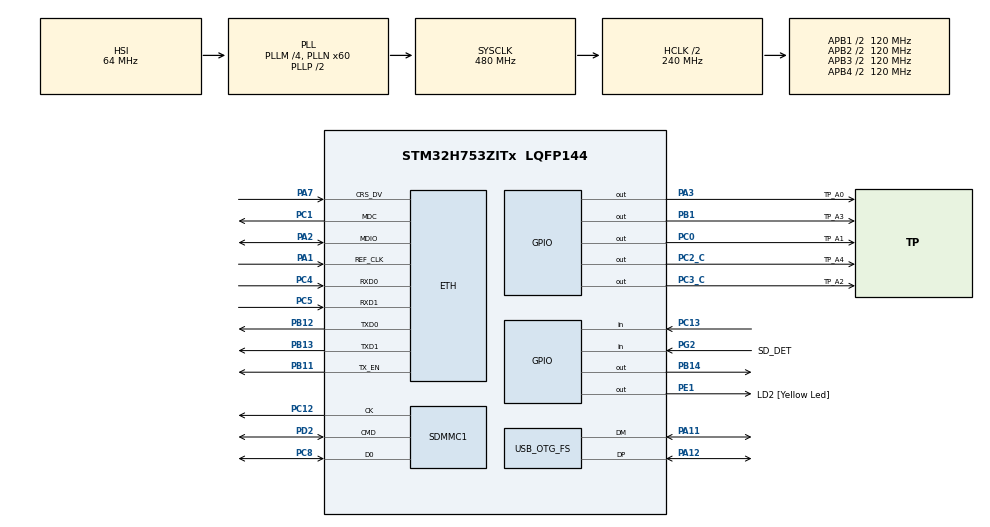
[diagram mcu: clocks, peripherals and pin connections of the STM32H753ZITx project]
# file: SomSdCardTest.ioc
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CORTEX_M7.AccessPermission_S-Cortex_Memory_Protection_Unit_Region1_Settings_S=MPU_REGION_FULL_ACCESS
CORTEX_M7.BaseAddress_S-Cortex_Memory_Protection_Unit_Region1_Settings_S=0x24078000
CORTEX_M7.CPU_DCache=Enabled
CORTEX_M7.CPU_ICache=Enabled
CORTEX_M7.Enable_S-Cortex_Memory_Protection_Unit_Region1_Settings_S=MPU_REGION_ENABLE
CORTEX_M7.IsShareable_S-Cortex_Memory_Protection_Unit_Region1_Settings_S=MPU_ACCESS_NOT_SHAREABLE
CORTEX_M7.MPU_Control=MPU_PRIVILEGED_DEFAULT
CORTEX_M7.Size_S-Cortex_Memory_Protection_Unit_Region1_Settings_S=MPU_REGION_SIZE_32KB
CORTEX_M7.TypeExtField_S-Cortex_Memory_Protection_Unit_Region1_Settings_S=MPU_TEX_LEVEL1
CORTEX_M7.default_mode_Activation=1
ETH.MediaInterface=HAL_ETH_RMII_MODE
Mcu.Family=STM32H7
Mcu.Name=STM32H753ZITx
Mcu.Package=LQFP144
NUCLEO-H753ZI.BUTTON=0
NUCLEO-H753ZI.Bsp_Common_DEMO=true
NUCLEO-H753ZI.LD1=true
NUCLEO-H753ZI.LD2=true
NUCLEO-H753ZI.LD3=true
NUCLEO-H753ZI.VCP=true
NVIC.OTG_FS_IRQn=true\:0\:0\:false\:false\:true\:false\:true\:true\:true
NVIC.PriorityGroup=NVIC_PRIORITYGROUP_4
NVIC.SDMMC1_IRQn=true\:0\:0\:false\:false\:true\:false\:true\:true\:true
NVIC.TIM6_DAC_IRQn=true\:15\:0\:false\:false\:true\:false\:false\:true\:true
NVIC.TimeBase=TIM6_DAC_IRQn
NVIC.TimeBaseIP=TIM6
PA1.Mode=RMII
PA1.Signal=ETH_REF_CLK
PA11.GPIO_Speed=GPIO_SPEED_FREQ_HIGH
PA11.Mode=Device_Only
PA11.Signal=USB_OTG_FS_DM
PA12.GPIO_Speed=GPIO_SPEED_FREQ_HIGH
PA12.Mode=Device_Only
PA12.Signal=USB_OTG_FS_DP
PA13\ (JTMS/SWDIO).Mode=Trace_Asynchronous_SW
PA13\ (JTMS/SWDIO).Signal=DEBUG_JTMS-SWDIO
PA14\ (JTCK/SWCLK).Mode=Trace_Asynchronous_SW
PA14\ (JTCK/SWCLK).Signal=DEBUG_JTCK-SWCLK
PA2.Mode=RMII
PA2.Signal=ETH_MDIO
PA3.GPIO_Label=TP_A0
PA3.Signal=GPIO_Output
PA7.Mode=RMII
PA7.Signal=ETH_CRS_DV
PB1.GPIO_Label=TP_A3
PB1.Signal=GPIO_Output
PB11.Mode=RMII
PB11.Signal=ETH_TX_EN
PB12.Mode=RMII
PB12.Signal=ETH_TXD0
PB13.Mode=RMII
PB13.Signal=ETH_TXD1
PB14.Signal=GPIO_Output
PB3\ (JTDO/TRACESWO).Mode=Trace_Asynchronous_SW
PB3\ (JTDO/TRACESWO).Signal=DEBUG_JTDO-SWO
PC0.GPIO_Label=TP_A1
PC0.Signal=GPIO_Output
PC1.Mode=RMII
PC1.Signal=ETH_MDC
PC12.GPIO_Speed_High_Default=GPIO_SPEED_FREQ_HIGH
PC12.Mode=SD_1_bit
PC12.Signal=SDMMC1_CK
PC13.Signal=GPIO_Input
PC14-OSC32_IN\ (OSC32_IN).Signal=RCC_OSC32_IN
PC15-OSC32_OUT\ (OSC32_OUT).Signal=RCC_OSC32_OUT
PC2_C.GPIO_Label=TP_A4
PC2_C.Signal=GPIO_Output
PC3_C.GPIO_Label=TP_A2
PC3_C.Signal=GPIO_Output
PC4.Mode=RMII
PC4.Signal=ETH_RXD0
PC5.Mode=RMII
PC5.Signal=ETH_RXD1
PC8.GPIO_Speed_High_Default=GPIO_SPEED_FREQ_HIGH
PC8.Mode=SD_1_bit
PC8.Signal=SDMMC1_D0
PD2.GPIO_Speed_High_Default=GPIO_SPEED_FREQ_HIGH
PD2.Mode=SD_1_bit
PD2.Signal=SDMMC1_CMD
PD8.Signal=USART3_TX
PD9.Signal=USART3_RX
PE1.GPIO_Label=LD2 [Yellow Led]
PE1.Signal=GPIO_Output
PG2.GPIO_Label=SD_DET
PG2.Signal=GPIO_Input
PH0-OSC_IN\ (PH0).Signal=RCC_OSC_IN
PH1-OSC_OUT\ (PH1).Signal=RCC_OSC_OUT
ProjectManager.HeapSize=0x200
ProjectManager.StackSize=0x400
ProjectManager.TargetToolchain=STM32CubeIDE
RCC.ADCFreq_Value=129000000
RCC.APB1Freq_Value=120000000
RCC.APB2Freq_Value=120000000
RCC.APB3Freq_Value=120000000
RCC.APB4Freq_Value=120000000
RCC.CortexFreq_Value=480000000
RCC.D1PPRE=RCC_APB3_DIV2
RCC.D2PPRE1=RCC_APB1_DIV2
RCC.D2PPRE2=RCC_APB2_DIV2
RCC.D3PPRE=RCC_APB4_DIV2
RCC.DIVM1=4
RCC.DIVN1=60
RCC.DIVQ1=5
RCC.HCLKFreq_Value=240000000
RCC.HPRE=RCC_HCLK_DIV2
RCC.HSE_VALUE=8000000
RCC.PLL2FRACN=0
RCC.PLL3FRACN=0
RCC.PLLFRACN=0
RCC.PWR_Regulator_Voltage_Scale=PWR_REGULATOR_VOLTAGE_SCALE0
RCC.SYSCLKFreq_VALUE=480000000
RCC.SYSCLKSource=RCC_SYSCLKSOURCE_PLLCLK
RCC.USBCLockSelection=RCC_USBCLKSOURCE_HSI48
RCC.USBFreq_Value=48000000
SDMMC1.ClockDiv=5
SDMMC1.HardwareFlowControl=SDMMC_HARDWARE_FLOW_CONTROL_ENABLE
STMicroelectronics.X-CUBE-AZRTOS-H7.3.3.0.REG_UX_DEVICE_CDC_ACM=1
STMicroelectronics.X-CUBE-AZRTOS-H7.3.3.0.REG_UX_DEVICE_STORAGE=1
STMicroelectronics.X-CUBE-AZRTOS-H7.3.3.0.TX_APP_MEM_POOL_SIZE=1024*2
STMicroelectronics.X-CUBE-AZRTOS-H7.3.3.0.TX_ENABLE_EVENT_TRACE=1
STMicroelectronics.X-CUBE-AZRTOS-H7.3.3.0.TX_ENABLE_STACK_CHECKING=1
STMicroelectronics.X-CUBE-AZRTOS-H7.3.3.0.ThreadXCcRTOSJjThreadXJjCore=true
STMicroelectronics.X-CUBE-AZRTOS-H7.3.3.0.ThreadXCcRTOSJjThreadXJjTraceXOosupport=true
STMicroelectronics.X-CUBE-AZRTOS-H7.3.3.0.USBD_CDCACM_EPINCMD_ADDR=1
STMicroelectronics.X-CUBE-AZRTOS-H7.3.3.0.USBD_CDCACM_EPIN_ADDR=2
STMicroelectronics.X-CUBE-AZRTOS-H7.3.3.0.USBD_CDCACM_EPOUT_ADDR=2
STMicroelectronics.X-CUBE-AZRTOS-H7.3.3.0.USBD_MSC_EPIN_ADDR=3
STMicroelectronics.X-CUBE-AZRTOS-H7.3.3.0.USBD_MSC_EPOUT_ADDR=3
STMicroelectronics.X-CUBE-AZRTOS-H7.3.3.0.USBD_PRODUCT_STRING=NUCLEO TEST
STMicroelectronics.X-CUBE-AZRTOS-H7.3.3.0.USBXCcUSBJjUSBXJjCoreSystem=true
STMicroelectronics.X-CUBE-AZRTOS-H7.3.3.0.USBXCcUSBJjUSBXJjUXOoDeviceOoClassOoCDCOoACM=true
STMicroelectronics.X-CUBE-AZRTOS-H7.3.3.0.USBXCcUSBJjUSBXJjUXOoDeviceOoClassOoSTORAGE=true
STMicroelectronics.X-CUBE-AZRTOS-H7.3.3.0.USBXCcUSBJjUSBXJjUXOoDeviceOoControllers=true
STMicroelectronics.X-CUBE-AZRTOS-H7.3.3.0.USBXCcUSBJjUSBXJjUXOoDeviceOoCoreStack=true
STMicroelectronics.X-CUBE-AZRTOS-H7.3.3.0.USBX_DEVICE_APP_THREAD_Size=1024*2
STMicroelectronics.X-CUBE-AZRTOS-H7.3.3.0.USBX_DEVICE_SYS_SIZE=1024*11
STMicroelectronics.X-CUBE-AZRTOS-H7.3.3.0.UX_ALIGN_MIN=UX_ALIGN_32
STMicroelectronics.X-CUBE-AZRTOS-H7.3.3.0.UX_DEVICE_APP_MEM_POOL_SIZE=1024*28
STMicroelectronics.X-CUBE-AZRTOS-H7.3.3.0.UX_ENABLE_ERROR_CHECKING=true
STMicroelectronics.X-CUBE-AZRTOS-H7.3.3.0.UX_MAX_SLAVE_CLASS_DRIVER=2
STMicroelectronics.X-CUBE-AZRTOS-H7.3.3.0.UX_MAX_SLAVE_INTERFACES=16
STMicroelectronics.X-CUBE-AZRTOS-H7.3.3.0.UX_SLAVE_REQUEST_DATA_MAX_LENGTH=512
STMicroelectronics.X-CUBE-AZRTOS-H7.3.3.0.UX_THREAD_PRIORITY_CLASS=12
STMicroelectronics.X-CUBE-AZRTOS-H7.3.3.0.UX_THREAD_PRIORITY_ENUM=12
STMicroelectronics.X-CUBE-AZRTOS-H7.3.3.0_IsAnAzureRtosMw=true
USB_OTG_FS.VirtualMode=Device_Only
VP_MEMORYMAP_VS_MEMORYMAP.Mode=CurAppReg
VP_NUCLEO-H753ZI_VS_BSP_COMMON.Mode=COMMON
VP_RCC_USB.Mode=USB_FS
VP_STMicroelectronics.X-CUBE-AZRTOS-H7_VS_RTOSJjThreadX_6.4.0_3.3.0.Mode=RTOSJjThreadX
VP_STMicroelectronics.X-CUBE-AZRTOS-H7_VS_USBJjUSBX_6.4.0_3.3.0.Mode=USBJjUSBX
VP_SYS_VS_tim6.Mode=TIM6
board=NUCLEO-H753ZI

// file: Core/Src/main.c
/* USER CODE BEGIN Header */
/**
  ******************************************************************************
  * @file           : main.c
  * @brief          : Main program body
  ******************************************************************************
  * @attention
  *
  * Copyright (c) 2025 STMicroelectronics.
  * All rights reserved.
  *
  * This software is licensed under terms that can be found in the LICENSE file
  * in the root directory of this software component.
  * If no LICENSE file comes with this software, it is provided AS-IS.
  *
  ******************************************************************************
  */
/* USER CODE END Header */
#include "app_threadx.h"
#include "main.h"
#include "eth.h"
#include "memorymap.h"
#include "gpio.h"

/* USER CODE BEGIN Includes */
#include "sdmmc.h"
#include "stm32h7xx_nucleo.h"
/* USER CODE END Includes */

COM_InitTypeDef BspCOMInit;
__IO uint32_t BspButtonState = BUTTON_RELEASED;

/* USER CODE BEGIN PV */
HAL_SD_CardInfoTypeDef USBD_SD_CardInfo;

/* USER CODE END PV */

void SystemClock_Config(void);
static void MPU_Config(void);

int main(void)
{

  /* MPU Configuration--------------------------------------------------------*/
  MPU_Config();

  /* Enable the CPU Cache */

  /* Enable I-Cache---------------------------------------------------------*/
  SCB_EnableICache();

  /* Enable D-Cache---------------------------------------------------------*/
  SCB_EnableDCache();

  /* MCU Configuration--------------------------------------------------------*/

  /* Reset of all peripherals, Initializes the Flash interface and the Systick. */
  HAL_Init();

  /* Configure the system clock */
  SystemClock_Config();

  /* Initialize all configured peripherals */
  MX_GPIO_Init();
  MX_ETH_Init();
  /* USER CODE BEGIN 2 */

  HAL_GPIO_WritePin(TP_A0_GPIO_Port, TP_A0_Pin, GPIO_PIN_SET);
  HAL_GPIO_WritePin(TP_A1_GPIO_Port, TP_A1_Pin, GPIO_PIN_SET);
  HAL_GPIO_WritePin(TP_A2_GPIO_Port, TP_A2_Pin, GPIO_PIN_SET);
  HAL_GPIO_WritePin(TP_A3_GPIO_Port, TP_A3_Pin, GPIO_PIN_SET);
  HAL_GPIO_WritePin(TP_A4_GPIO_Port, TP_A4_Pin, GPIO_PIN_SET);

  HAL_GPIO_WritePin(TP_A0_GPIO_Port, TP_A0_Pin, GPIO_PIN_RESET);
  HAL_GPIO_WritePin(TP_A1_GPIO_Port, TP_A1_Pin, GPIO_PIN_RESET);
  HAL_GPIO_WritePin(TP_A2_GPIO_Port, TP_A2_Pin, GPIO_PIN_RESET);
  HAL_GPIO_WritePin(TP_A3_GPIO_Port, TP_A3_Pin, GPIO_PIN_RESET);
  HAL_GPIO_WritePin(TP_A4_GPIO_Port, TP_A4_Pin, GPIO_PIN_RESET);

  if (GPIO_SD_isCardPresent())
  {
      // Init SD card
      MX_SDMMC1_SD_Init();

      // Check card status
      uint32_t sdCardstart = HAL_GetTick();
      while (HAL_GetTick() - sdCardstart < 2000) {
          if(HAL_SD_GetCardState(&hsd1) == HAL_SD_CARD_TRANSFER) {
              break;
          }
      }

      // Get card info
      if (HAL_SD_GetCardInfo(&hsd1, &USBD_SD_CardInfo) != HAL_OK)
      {
          Error_Handler();
      }
  }

  /* BSP init */
  /* Initialize leds */
  BSP_LED_Init(LED_GREEN);
  BSP_LED_Init(LED_BLUE);
  BSP_LED_Init(LED_RED);

  /* Initialize COM1 port (115200, 8 bits (7-bit data + 1 stop bit), no parity */
  COM_InitTypeDef BspCOMInit;
  BspCOMInit.BaudRate   = 115200;
  BspCOMInit.WordLength = COM_WORDLENGTH_8B;
  BspCOMInit.StopBits   = COM_STOPBITS_1;
  BspCOMInit.Parity     = COM_PARITY_NONE;
  BspCOMInit.HwFlowCtl  = COM_HWCONTROL_NONE;
  if (BSP_COM_Init(COM1, &BspCOMInit) != BSP_ERROR_NONE)
  {
    Error_Handler();
  }

  /* USER CODE BEGIN BSP */

  /* -- Sample board code to send message over COM1 port ---- */
  printf("Welcome to STM32 world !\n\r");

  /* -- Sample board code to switch on leds ---- */
  BSP_LED_On(LED_GREEN);
  BSP_LED_On(LED_BLUE);
  BSP_LED_On(LED_RED);

  /* USER CODE END BSP */

  /* USER CODE END 2 */

  MX_ThreadX_Init();

  /* Initialize leds */
  BSP_LED_Init(LED_GREEN);
  BSP_LED_Init(LED_BLUE);
  BSP_LED_Init(LED_RED);

  /* Initialize COM1 port (115200, 8 bits (7-bit data + 1 stop bit), no parity */
  BspCOMInit.BaudRate   = 115200;
  BspCOMInit.WordLength = COM_WORDLENGTH_8B;
  BspCOMInit.StopBits   = COM_STOPBITS_1;
  BspCOMInit.Parity     = COM_PARITY_NONE;
  BspCOMInit.HwFlowCtl  = COM_HWCONTROL_NONE;
  if (BSP_COM_Init(COM1, &BspCOMInit) != BSP_ERROR_NONE)
  {
    Error_Handler();
  }

  /* USER CODE BEGIN BSP */

  /* -- Sample board code to send message over COM1 port ---- */
  printf("Welcome to STM32 world !\n\r");

  /* -- Sample board code to switch on leds ---- */
  BSP_LED_On(LED_GREEN);
  BSP_LED_On(LED_BLUE);
  BSP_LED_On(LED_RED);

  /* USER CODE END BSP */

  /* We should never get here as control is now taken by the scheduler */

  /* Infinite loop */
  while (1)
  {

  }
}

void SystemClock_Config(void)
{
  RCC_OscInitTypeDef RCC_OscInitStruct = {0};
  RCC_ClkInitTypeDef RCC_ClkInitStruct = {0};
  RCC_CRSInitTypeDef RCC_CRSInitStruct = {0};

  /** Supply configuration update enable
  */
  HAL_PWREx_ConfigSupply(PWR_LDO_SUPPLY);

  /** Configure the main internal regulator output voltage
  */
  __HAL_PWR_VOLTAGESCALING_CONFIG(PWR_REGULATOR_VOLTAGE_SCALE0);

  while(!__HAL_PWR_GET_FLAG(PWR_FLAG_VOSRDY)) {}

  /** Initializes the RCC Oscillators according to the specified parameters
  * in the RCC_OscInitTypeDef structure.
  */
  RCC_OscInitStruct.OscillatorType = RCC_OSCILLATORTYPE_HSI48|RCC_OSCILLATORTYPE_HSI;
  RCC_OscInitStruct.HSIState = RCC_HSI_DIV1;
  RCC_OscInitStruct.HSICalibrationValue = RCC_HSICALIBRATION_DEFAULT;
  RCC_OscInitStruct.HSI48State = RCC_HSI48_ON;
  RCC_OscInitStruct.PLL.PLLState = RCC_PLL_ON;
  RCC_OscInitStruct.PLL.PLLSource = RCC_PLLSOURCE_HSI;
  RCC_OscInitStruct.PLL.PLLM = 4;
  RCC_OscInitStruct.PLL.PLLN = 60;
  RCC_OscInitStruct.PLL.PLLP = 2;
  RCC_OscInitStruct.PLL.PLLQ = 5;
  RCC_OscInitStruct.PLL.PLLR = 2;
  RCC_OscInitStruct.PLL.PLLRGE = RCC_PLL1VCIRANGE_3;
  RCC_OscInitStruct.PLL.PLLVCOSEL = RCC_PLL1VCOWIDE;
  RCC_OscInitStruct.PLL.PLLFRACN = 0;
  if (HAL_RCC_OscConfig(&RCC_OscInitStruct) != HAL_OK)
  {
    Error_Handler();
  }

  /** Initializes the CPU, AHB and APB buses clocks
  */
  RCC_ClkInitStruct.ClockType = RCC_CLOCKTYPE_HCLK|RCC_CLOCKTYPE_SYSCLK
                              |RCC_CLOCKTYPE_PCLK1|RCC_CLOCKTYPE_PCLK2
                              |RCC_CLOCKTYPE_D3PCLK1|RCC_CLOCKTYPE_D1PCLK1;
  RCC_ClkInitStruct.SYSCLKSource = RCC_SYSCLKSOURCE_PLLCLK;
  RCC_ClkInitStruct.SYSCLKDivider = RCC_SYSCLK_DIV1;
  RCC_ClkInitStruct.AHBCLKDivider = RCC_HCLK_DIV2;
  RCC_ClkInitStruct.APB3CLKDivider = RCC_APB3_DIV2;
  RCC_ClkInitStruct.APB1CLKDivider = RCC_APB1_DIV2;
  RCC_ClkInitStruct.APB2CLKDivider = RCC_APB2_DIV2;
  RCC_ClkInitStruct.APB4CLKDivider = RCC_APB4_DIV2;

  if (HAL_RCC_ClockConfig(&RCC_ClkInitStruct, FLASH_LATENCY_4) != HAL_OK)
  {
    Error_Handler();
  }

  /** Enable the SYSCFG APB clock
  */
  __HAL_RCC_CRS_CLK_ENABLE();

  /** Configures CRS
  */
  RCC_CRSInitStruct.Prescaler = RCC_CRS_SYNC_DIV1;
  RCC_CRSInitStruct.Source = RCC_CRS_SYNC_SOURCE_USB2;
  RCC_CRSInitStruct.Polarity = RCC_CRS_SYNC_POLARITY_RISING;
  RCC_CRSInitStruct.ReloadValue = __HAL_RCC_CRS_RELOADVALUE_CALCULATE(48000000,1000);
  RCC_CRSInitStruct.ErrorLimitValue = 34;
  RCC_CRSInitStruct.HSI48CalibrationValue = 32;

  HAL_RCCEx_CRSConfig(&RCC_CRSInitStruct);
}

/* USER CODE BEGIN 4 */

bool GPIO_SD_isCardPresent(void) {
	return HAL_GPIO_ReadPin(SD_DET_GPIO_Port, SD_DET_Pin) == GPIO_PIN_SET;
}

/* USER CODE END 4 */

 /* MPU Configuration */

void MPU_Config(void)
{
  MPU_Region_InitTypeDef MPU_InitStruct = {0};

  /* Disables the MPU */
  HAL_MPU_Disable();

  /** Initializes and configures the Region and the memory to be protected
  */
  MPU_InitStruct.Enable = MPU_REGION_ENABLE;
  MPU_InitStruct.Number = MPU_REGION_NUMBER0;
  MPU_InitStruct.BaseAddress = 0x0;
  MPU_InitStruct.Size = MPU_REGION_SIZE_4GB;
  MPU_InitStruct.SubRegionDisable = 0x87;
  MPU_InitStruct.TypeExtField = MPU_TEX_LEVEL0;
  MPU_InitStruct.AccessPermission = MPU_REGION_NO_ACCESS;
  MPU_InitStruct.DisableExec = MPU_INSTRUCTION_ACCESS_DISABLE;
  MPU_InitStruct.IsShareable = MPU_ACCESS_SHAREABLE;
  MPU_InitStruct.IsCacheable = MPU_ACCESS_NOT_CACHEABLE;
  MPU_InitStruct.IsBufferable = MPU_ACCESS_NOT_BUFFERABLE;

  HAL_MPU_ConfigRegion(&MPU_InitStruct);

  /** Initializes and configures the Region and the memory to be protected
  */
  MPU_InitStruct.Number = MPU_REGION_NUMBER1;
  MPU_InitStruct.BaseAddress = 0x24078000;
  MPU_InitStruct.Size = MPU_REGION_SIZE_32KB;
  MPU_InitStruct.SubRegionDisable = 0x0;
  MPU_InitStruct.TypeExtField = MPU_TEX_LEVEL1;
  MPU_InitStruct.AccessPermission = MPU_REGION_FULL_ACCESS;
  MPU_InitStruct.DisableExec = MPU_INSTRUCTION_ACCESS_ENABLE;
  MPU_InitStruct.IsShareable = MPU_ACCESS_NOT_SHAREABLE;

  HAL_MPU_ConfigRegion(&MPU_InitStruct);
  /* Enables the MPU */
  HAL_MPU_Enable(MPU_PRIVILEGED_DEFAULT);

}

void HAL_TIM_PeriodElapsedCallback(TIM_HandleTypeDef *htim)
{
  if (htim->Instance == TIM6) {
    HAL_IncTick();
  }
}

void Error_Handler(void)
{
  __disable_irq();
  while (1)
  {
  }
}
